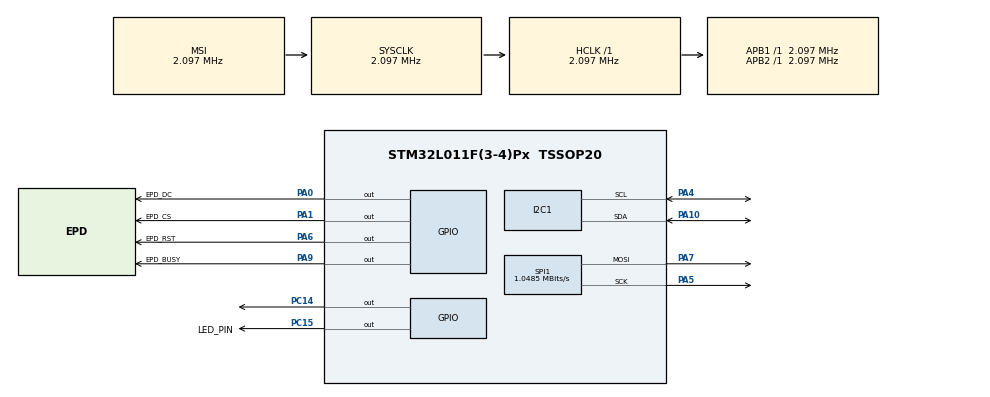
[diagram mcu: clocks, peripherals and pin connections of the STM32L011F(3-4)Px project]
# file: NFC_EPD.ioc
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I2C1.Timing=0x00000608
Mcu.Family=STM32L0
Mcu.Name=STM32L011F(3-4)Px
Mcu.Package=TSSOP20
PA0-CK_IN.GPIO_Label=EPD_DC
PA0-CK_IN.Signal=GPIO_Output
PA1.GPIO_Label=EPD_CS
PA1.Signal=GPIO_Output
PA10.Mode=I2C
PA10.Signal=I2C1_SDA
PA13.Mode=Serial_Wire
PA13.Signal=SYS_SWDIO
PA14.Mode=Serial_Wire
PA14.Signal=SYS_SWCLK
PA4.Mode=I2C
PA4.Signal=I2C1_SCL
PA5.Mode=TX_Only_Simplex_Unidirect_Master
PA5.Signal=SPI1_SCK
PA6.GPIO_Label=EPD_RST 
PA6.Signal=GPIO_Output
PA7.Mode=TX_Only_Simplex_Unidirect_Master
PA7.Signal=SPI1_MOSI
PA9.GPIO_Label=EPD_BUSY
PA9.Signal=GPIO_Output
PC14-OSC32_IN.Signal=GPIO_Output
PC15-OSC32_OUT.GPIO_Label=LED_PIN
PC15-OSC32_OUT.Signal=GPIO_Output
ProjectManager.HeapSize=0x200
ProjectManager.StackSize=0x400
ProjectManager.TargetToolchain=MDK-ARM V5.32
RCC.AHBFreq_Value=2097000
RCC.APB1Freq_Value=2097000
RCC.APB1TimFreq_Value=2097000
RCC.APB2Freq_Value=2097000
RCC.APB2TimFreq_Value=2097000
RCC.HSE_VALUE=8000000
RCC.HSI16_VALUE=16000000
RCC.HSI_VALUE=16000000
RCC.LSE_VALUE=32768
RCC.MSI_VALUE=2097000
RCC.SYSCLKFreq_VALUE=2097000
RCC.VCOOutputFreq_Value=48000000
SPI1.CalculateBaudRate=1.0485 MBits/s
SPI1.Direction=SPI_DIRECTION_2LINES
SPI1.Mode=SPI_MODE_MASTER
SPI1.VirtualType=VM_MASTER
board=custom

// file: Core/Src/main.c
/* USER CODE BEGIN Header */
/**
  ******************************************************************************
  * @file           : main.c
  * @brief          : Main program body
  ******************************************************************************
  * @attention
  *
  * Copyright (c) 2025 STMicroelectronics.
  * All rights reserved.
  *
  * This software is licensed under terms that can be found in the LICENSE file
  * in the root directory of this software component.
  * If no LICENSE file comes with this software, it is provided AS-IS.
  *
  ******************************************************************************
  */
/* USER CODE END Header */
#include "main.h"

/* USER CODE BEGIN Includes */
#include "epd.h"
#include <string.h>
/* USER CODE END Includes */

I2C_HandleTypeDef hi2c1;

SPI_HandleTypeDef hspi1;

void SystemClock_Config(void);
static void MX_GPIO_Init(void);
static void MX_I2C1_Init(void);
static void MX_SPI1_Init(void);

/* USER CODE BEGIN 0 */
#define NT3H_I2C_ADDR 0xaa
#define SRAM_SIZE 64
uint32_t total_writen = 0;
uint32_t have_writen = 0;
uint32_t all_count = 0;
bool stopFlag = false;
bool writeDone = false;
bool refreshPending = false;
bool refreshStarted = false;
bool invertByte = false;

static uint32_t EPD_FrameBytes(void)
{
#if defined(NO_RED)
  return (uint32_t)EPD_WIDTH * (uint32_t)EPD_HEIGHT / 8;
#else
  return (uint32_t)EPD_WIDTH * (uint32_t)EPD_HEIGHT / 4;
#endif
}

static void EPD_FillRemainingFrame(uint32_t written_bytes)
{
  uint32_t frame_bytes = EPD_FrameBytes();
  uint8_t white_byte = 0xFF;

  while (written_bytes < frame_bytes) {
    EPD_SendData(white_byte);
    written_bytes++;
  }
}

void enableMirror(void){
// add sram mirror
	uint8_t data[4] = {0xfe, 0x00, 0x2, 0x2};
	HAL_I2C_Master_Transmit(&hi2c1, NT3H_I2C_ADDR, data, sizeof(data), 100);
}

void startPassthrough(void){
  uint8_t data[4] = {0xfe, 0x00, 0x40, 0x40};
  HAL_I2C_Master_Transmit(&hi2c1, NT3H_I2C_ADDR, data, sizeof(data), 100);
}

void stopPassthrough() {
  uint8_t data[4] = {0xfe, 0x00, 0x40, 0x0};
  HAL_I2C_Master_Transmit(&hi2c1, NT3H_I2C_ADDR, data, sizeof(data), 100);
}

void setI2CtoNFC(){
  stopPassthrough();
  uint8_t data[4] = {0xfe, 0x00, 0x1, 0x0};
  HAL_I2C_Master_Transmit(&hi2c1, NT3H_I2C_ADDR, data, sizeof(data), 100);
  startPassthrough();
}

void setNFCtoI2C(){
  stopPassthrough();
  uint8_t data[4] = {0xfe, 0x00, 0x1, 0x1};
  HAL_I2C_Master_Transmit(&hi2c1, NT3H_I2C_ADDR, data, sizeof(data), 100);
  startPassthrough();
}

bool checkReady()
{
    uint8_t rxData[1] = {0};
    uint8_t txData[2] = {0xFE, 0x06};
    HAL_I2C_Master_Transmit(&hi2c1, NT3H_I2C_ADDR, txData, 2, 100);
    HAL_I2C_Master_Receive(&hi2c1, NT3H_I2C_ADDR, rxData, 1, 100);
	return (rxData[0] & 16) != 0;
		//									0b10000
}

void WriteACK(uint8_t *dataBuffer)
{
    setI2CtoNFC();
    dataBuffer[SRAM_SIZE-4] = 'A';
    dataBuffer[SRAM_SIZE-3] = 'C';
    dataBuffer[SRAM_SIZE-2] = 'K';
    HAL_I2C_Mem_Write(&hi2c1,
                                  NT3H_I2C_ADDR,
                                  0xfb,
                                  I2C_MEMADD_SIZE_8BIT,
                                  dataBuffer + 3*16,
                                  16,
                                  HAL_MAX_DELAY);
    setNFCtoI2C();
}

bool checkFP(uint8_t *data){
    uint8_t pg_data[48] = {0};
   if (memcmp(data, pg_data, 48) == 0 && data[SRAM_SIZE-4] == 'F' && data[SRAM_SIZE-3] == 'P')
   {
      total_writen = data[SRAM_SIZE-5] + (data[SRAM_SIZE-6] << 8);
      have_writen = 0;
      return true;

  }else if (memcmp(data, pg_data, 48) == 0 && data[SRAM_SIZE-4] == 'F' && data[SRAM_SIZE-3] == 'S')
   {
    if (!writeDone && all_count > 0) {
      EPD_FillRemainingFrame(all_count);
      all_count = EPD_FrameBytes();
      writeDone = true;
      refreshPending = true;
    }
      HAL_GPIO_WritePin(LED_PIN_GPIO_Port, LED_PIN_Pin, GPIO_PIN_SET);
      stopFlag = true;
      return true;
   }
   return false;

}

void ReadDataBlock(uint8_t block_address, uint8_t* out_buffer, int out_buffer_length)
{
      HAL_I2C_Master_Transmit(&hi2c1, NT3H_I2C_ADDR, &block_address, 1, 100);
      HAL_I2C_Master_Receive(&hi2c1, NT3H_I2C_ADDR, out_buffer, out_buffer_length, 100);
}

void readPages(uint8_t startPage, uint8_t endPage, uint8_t *data64)
{
    uint8_t i = 0;
    for (uint8_t page = startPage; page <= endPage; page++)
    {
        ReadDataBlock(page, data64 + i*16, 16);
        i++;
    }
}

static void StartRefreshIfNeeded(void)
{
  if (refreshPending && !refreshStarted) {
    EPD_TurnOnDisplay();
    HAL_GPIO_WritePin(LED_PIN_GPIO_Port, LED_PIN_Pin, GPIO_PIN_SET);
    refreshStarted = true;
  }
}

/* USER CODE END 0 */

int main(void)
{

  /* MCU Configuration--------------------------------------------------------*/

  /* Reset of all peripherals, Initializes the Flash interface and the Systick. */
  HAL_Init();

  /* Configure the system clock */
  SystemClock_Config();

  /* Initialize all configured peripherals */
  MX_GPIO_Init();
  MX_I2C1_Init();
  MX_SPI1_Init();
  /* USER CODE BEGIN 2 */
	HAL_GPIO_WritePin(LED_PIN_GPIO_Port, LED_PIN_Pin, GPIO_PIN_SET);
  EPD_Init();

	EPD_Start_Black();
/*

    UWORD Width = (EPD_WIDTH % 8 == 0)? (EPD_WIDTH / 8 ): (EPD_WIDTH / 8 + 1);
    UWORD Height = EPD_HEIGHT;

    for (UWORD j = 0; j < Height; j++) {
        for (UWORD i = 0; i < Width; i++) {
            EPD_SendData(0x00);
					EPD_SendData(0xff);
        }
    }

		EPD_TurnOnDisplay();
 */

  /* USER CODE END 2 */

  /* Infinite loop */
  /* USER CODE BEGIN WHILE */

	HAL_GPIO_WritePin(LED_PIN_GPIO_Port, LED_PIN_Pin, GPIO_PIN_RESET);

  while (1)
  {
    /* USER CODE END WHILE */

    /* USER CODE BEGIN 3 */
			startPassthrough();
      if (checkReady()){
         uint8_t data64[64];
         readPages(0xf8, 0xfb, data64);
         if (checkFP(data64)) {
           if (stopFlag) break;
           continue;
         }

         if (!writeDone){
  						#if defined(NO_RED)
                if (all_count >= EPD_WIDTH*EPD_HEIGHT/8){
                    writeDone = true;
                    refreshPending = true;
                  StartRefreshIfNeeded();
  							}
							//EPD_write64(data64);
                  DEV_Digital_Write(EPD_DC_PIN, 1);
									DEV_Digital_Write(EPD_CS_PIN, 0);
									DEV_SPI_Write_nByte(data64, 64);
									DEV_Digital_Write(EPD_CS_PIN, 1);
							#else
               if (all_count >= EPD_WIDTH*EPD_HEIGHT/8*2){
                  writeDone = true;
                  refreshPending = true;
                  StartRefreshIfNeeded();
                }
							  if (invertByte){
									for(size_t i=0;i<64;i++){
										data64[i] ^= 0xff;
									}
								}
								// boundary red and black
								if (all_count < EPD_WIDTH*EPD_HEIGHT/8 && all_count+64 >= EPD_WIDTH*EPD_HEIGHT/8){
									uint8_t black_p = EPD_WIDTH*EPD_HEIGHT/8 - all_count;

									DEV_Digital_Write(EPD_DC_PIN, 1);
									DEV_Digital_Write(EPD_CS_PIN, 0);
									DEV_SPI_Write_nByte(data64, black_p);
									DEV_Digital_Write(EPD_CS_PIN, 1);

									EPD_Start_Red();
									// EPD_HINK need
									invertByte = true;

									uint8_t dataRed[64-black_p];
									for(size_t i=0;i<64;i++){
										data64[i] ^= 0xff;
									}
									memcpy(dataRed, &data64[black_p], sizeof(dataRed));
									DEV_Digital_Write(EPD_DC_PIN, 1);
									DEV_Digital_Write(EPD_CS_PIN, 0);
									DEV_SPI_Write_nByte(data64, 64-black_p);
									DEV_Digital_Write(EPD_CS_PIN, 1);
								}else{
									DEV_Digital_Write(EPD_DC_PIN, 1);
									DEV_Digital_Write(EPD_CS_PIN, 0);
									DEV_SPI_Write_nByte(data64, 64);
									DEV_Digital_Write(EPD_CS_PIN, 1);
								}
							#endif

					all_count += 64;
          #if defined(NO_RED)
          if (!writeDone && all_count >= EPD_WIDTH*EPD_HEIGHT/8){
            writeDone = true;
            refreshPending = true;
            StartRefreshIfNeeded();
          }
          #else
          if (!writeDone && all_count >= EPD_WIDTH*EPD_HEIGHT/8*2){
            writeDone = true;
            refreshPending = true;
            StartRefreshIfNeeded();
          }
          #endif
				 }
         have_writen += 64;
         if (have_writen >= total_writen && total_writen != 0){
            WriteACK(data64);
            have_writen = 0;
         }
				}

     if (stopFlag) break;
  }
  if (refreshPending){
    if (!refreshStarted) {
      EPD_TurnOnDisplay();
    }
    stopPassthrough();
    EPD_Sleep();
    HAL_GPIO_WritePin(LED_PIN_GPIO_Port, LED_PIN_Pin, GPIO_PIN_SET);
  }
	EPD_ReadBusy();

  /* USER CODE END 3 */
}

void SystemClock_Config(void)
{
  RCC_OscInitTypeDef RCC_OscInitStruct = {0};
  RCC_ClkInitTypeDef RCC_ClkInitStruct = {0};
  RCC_PeriphCLKInitTypeDef PeriphClkInit = {0};

  /** Configure the main internal regulator output voltage
  */
  __HAL_PWR_VOLTAGESCALING_CONFIG(PWR_REGULATOR_VOLTAGE_SCALE1);

  /** Initializes the RCC Oscillators according to the specified parameters
  * in the RCC_OscInitTypeDef structure.
  */
  RCC_OscInitStruct.OscillatorType = RCC_OSCILLATORTYPE_MSI;
  RCC_OscInitStruct.MSIState = RCC_MSI_ON;
  RCC_OscInitStruct.MSICalibrationValue = 0;
  RCC_OscInitStruct.MSIClockRange = RCC_MSIRANGE_5;
  RCC_OscInitStruct.PLL.PLLState = RCC_PLL_NONE;
  if (HAL_RCC_OscConfig(&RCC_OscInitStruct) != HAL_OK)
  {
    Error_Handler();
  }

  /** Initializes the CPU, AHB and APB buses clocks
  */
  RCC_ClkInitStruct.ClockType = RCC_CLOCKTYPE_HCLK|RCC_CLOCKTYPE_SYSCLK
                              |RCC_CLOCKTYPE_PCLK1|RCC_CLOCKTYPE_PCLK2;
  RCC_ClkInitStruct.SYSCLKSource = RCC_SYSCLKSOURCE_MSI;
  RCC_ClkInitStruct.AHBCLKDivider = RCC_SYSCLK_DIV1;
  RCC_ClkInitStruct.APB1CLKDivider = RCC_HCLK_DIV1;
  RCC_ClkInitStruct.APB2CLKDivider = RCC_HCLK_DIV1;

  if (HAL_RCC_ClockConfig(&RCC_ClkInitStruct, FLASH_LATENCY_0) != HAL_OK)
  {
    Error_Handler();
  }
  PeriphClkInit.PeriphClockSelection = RCC_PERIPHCLK_I2C1;
  PeriphClkInit.I2c1ClockSelection = RCC_I2C1CLKSOURCE_PCLK1;
  if (HAL_RCCEx_PeriphCLKConfig(&PeriphClkInit) != HAL_OK)
  {
    Error_Handler();
  }
}

static void MX_I2C1_Init(void)
{

  hi2c1.Instance = I2C1;
  hi2c1.Init.Timing = 0x00000608;
  hi2c1.Init.OwnAddress1 = 0;
  hi2c1.Init.AddressingMode = I2C_ADDRESSINGMODE_7BIT;
  hi2c1.Init.DualAddressMode = I2C_DUALADDRESS_DISABLE;
  hi2c1.Init.OwnAddress2 = 0;
  hi2c1.Init.OwnAddress2Masks = I2C_OA2_NOMASK;
  hi2c1.Init.GeneralCallMode = I2C_GENERALCALL_DISABLE;
  hi2c1.Init.NoStretchMode = I2C_NOSTRETCH_DISABLE;
  if (HAL_I2C_Init(&hi2c1) != HAL_OK)
  {
    Error_Handler();
  }

  /** Configure Analogue filter
  */
  if (HAL_I2CEx_ConfigAnalogFilter(&hi2c1, I2C_ANALOGFILTER_ENABLE) != HAL_OK)
  {
    Error_Handler();
  }

  /** Configure Digital filter
  */
  if (HAL_I2CEx_ConfigDigitalFilter(&hi2c1, 0) != HAL_OK)
  {
    Error_Handler();
  }

}

static void MX_SPI1_Init(void)
{

  /* SPI1 parameter configuration*/
  hspi1.Instance = SPI1;
  hspi1.Init.Mode = SPI_MODE_MASTER;
  hspi1.Init.Direction = SPI_DIRECTION_2LINES;
  hspi1.Init.DataSize = SPI_DATASIZE_8BIT;
  hspi1.Init.CLKPolarity = SPI_POLARITY_LOW;
  hspi1.Init.CLKPhase = SPI_PHASE_1EDGE;
  hspi1.Init.NSS = SPI_NSS_SOFT;
  hspi1.Init.BaudRatePrescaler = SPI_BAUDRATEPRESCALER_2;
  hspi1.Init.FirstBit = SPI_FIRSTBIT_MSB;
  hspi1.Init.TIMode = SPI_TIMODE_DISABLE;
  hspi1.Init.CRCCalculation = SPI_CRCCALCULATION_DISABLE;
  hspi1.Init.CRCPolynomial = 7;
  if (HAL_SPI_Init(&hspi1) != HAL_OK)
  {
    Error_Handler();
  }

}

static void MX_GPIO_Init(void)
{
  GPIO_InitTypeDef GPIO_InitStruct = {0};

  /* GPIO Ports Clock Enable */
  __HAL_RCC_GPIOC_CLK_ENABLE();
  __HAL_RCC_GPIOA_CLK_ENABLE();

  /*Configure GPIO pin Output Level */
  HAL_GPIO_WritePin(GPIOC, GPIO_PIN_14|LED_PIN_Pin, GPIO_PIN_RESET);

  /*Configure GPIO pin Output Level */
  HAL_GPIO_WritePin(GPIOA, EPD_DC_Pin|EPD_CS_Pin|EPD_RST_Pin, GPIO_PIN_RESET);

  /*Configure GPIO pins : PC14 LED_PIN_Pin */
  GPIO_InitStruct.Pin = GPIO_PIN_14|LED_PIN_Pin;
  GPIO_InitStruct.Mode = GPIO_MODE_OUTPUT_PP;
  GPIO_InitStruct.Pull = GPIO_NOPULL;
  GPIO_InitStruct.Speed = GPIO_SPEED_FREQ_LOW;
  HAL_GPIO_Init(GPIOC, &GPIO_InitStruct);

  /*Configure GPIO pins : EPD_DC_Pin EPD_CS_Pin EPD_RST_Pin */
  GPIO_InitStruct.Pin = EPD_DC_Pin|EPD_CS_Pin|EPD_RST_Pin;
  GPIO_InitStruct.Mode = GPIO_MODE_OUTPUT_PP;
  GPIO_InitStruct.Pull = GPIO_NOPULL;
  GPIO_InitStruct.Speed = GPIO_SPEED_FREQ_LOW;
  HAL_GPIO_Init(GPIOA, &GPIO_InitStruct);

  /*Configure GPIO pin : EPD_BUSY_Pin */
  GPIO_InitStruct.Pin = EPD_BUSY_Pin;
  GPIO_InitStruct.Mode = GPIO_MODE_INPUT;
  GPIO_InitStruct.Pull = GPIO_PULLUP;
  HAL_GPIO_Init(EPD_BUSY_GPIO_Port, &GPIO_InitStruct);

}

void Error_Handler(void)
{
  __disable_irq();
  while (1)
  {
  }
}
